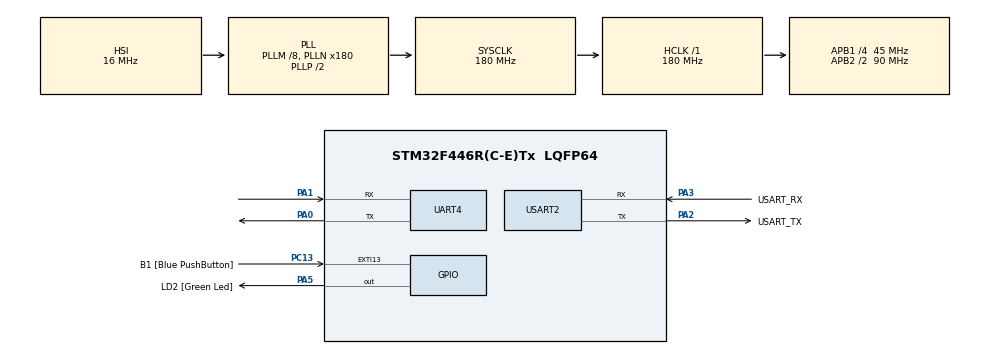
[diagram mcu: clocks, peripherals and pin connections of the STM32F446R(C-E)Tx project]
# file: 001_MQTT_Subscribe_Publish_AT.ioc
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Dma.Request0=UART4_RX
Dma.UART4_RX.0.Direction=DMA_PERIPH_TO_MEMORY
Dma.UART4_RX.0.FIFOMode=DMA_FIFOMODE_DISABLE
Dma.UART4_RX.0.Instance=DMA1_Stream2
Dma.UART4_RX.0.MemDataAlignment=DMA_MDATAALIGN_BYTE
Dma.UART4_RX.0.MemInc=DMA_MINC_ENABLE
Dma.UART4_RX.0.Mode=DMA_CIRCULAR
Dma.UART4_RX.0.PeriphDataAlignment=DMA_PDATAALIGN_BYTE
Dma.UART4_RX.0.PeriphInc=DMA_PINC_DISABLE
Dma.UART4_RX.0.Priority=DMA_PRIORITY_LOW
Mcu.Family=STM32F4
Mcu.Name=STM32F446R(C-E)Tx
Mcu.Package=LQFP64
NVIC.DMA1_Stream2_IRQn=true\:0\:0\:false\:false\:true\:false\:true\:true
NVIC.PriorityGroup=NVIC_PRIORITYGROUP_0
NVIC.UART4_IRQn=true\:0\:0\:false\:false\:true\:true\:true\:true
PA0-WKUP.Mode=Asynchronous
PA0-WKUP.Signal=UART4_TX
PA1.Mode=Asynchronous
PA1.Signal=UART4_RX
PA13.GPIO_Label=TMS
PA13.Mode=Trace_Asynchronous_SW
PA13.Signal=SYS_JTMS-SWDIO
PA14.GPIO_Label=TCK
PA14.Mode=Trace_Asynchronous_SW
PA14.Signal=SYS_JTCK-SWCLK
PA2.GPIO_Label=USART_TX
PA2.Mode=Asynchronous
PA2.Signal=USART2_TX
PA3.GPIO_Label=USART_RX
PA3.Mode=Asynchronous
PA3.Signal=USART2_RX
PA5.GPIO_Label=LD2 [Green Led]
PA5.Signal=GPIO_Output
PB3.GPIO_Label=SWO
PB3.Mode=Trace_Asynchronous_SW
PB3.Signal=SYS_JTDO-SWO
PC13.GPIO_Label=B1 [Blue PushButton]
PC13.GPIO_ModeDefaultEXTI=GPIO_MODE_IT_FALLING
PC13.Signal=GPXTI13
PC14-OSC32_IN.Mode=LSE-External-Oscillator
PC14-OSC32_IN.Signal=RCC_OSC32_IN
PC15-OSC32_OUT.Mode=LSE-External-Oscillator
PC15-OSC32_OUT.Signal=RCC_OSC32_OUT
PH0-OSC_IN.Mode=HSE-External-Oscillator
PH0-OSC_IN.Signal=RCC_OSC_IN
PH1-OSC_OUT.Mode=HSE-External-Oscillator
PH1-OSC_OUT.Signal=RCC_OSC_OUT
ProjectManager.HeapSize=0x400
ProjectManager.StackSize=0x800
ProjectManager.TargetToolchain=STM32CubeIDE
RCC.48MHZClocksFreq_Value=84000000
RCC.AHBFreq_Value=180000000
RCC.APB1CLKDivider=RCC_HCLK_DIV4
RCC.APB1Freq_Value=45000000
RCC.APB1TimFreq_Value=90000000
RCC.APB2CLKDivider=RCC_HCLK_DIV2
RCC.APB2Freq_Value=90000000
RCC.APB2TimFreq_Value=180000000
RCC.CortexFreq_Value=180000000
RCC.FLatency-AdvancedSettings=FLASH_LATENCY_5
RCC.HCLKFreq_Value=180000000
RCC.HSE_VALUE=8000000
RCC.HSI_VALUE=16000000
RCC.PLLM=8
RCC.PLLN=180
RCC.SYSCLKFreq_VALUE=180000000
RCC.SYSCLKSource=RCC_SYSCLKSOURCE_PLLCLK
RCC.USBFreq_Value=180000000
RCC.VCOOutputFreq_Value=360000000
UART4.VirtualMode=Asynchronous
USART2.VirtualMode=VM_ASYNC
board=NUCLEO-F446RE

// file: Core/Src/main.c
 /* USER CODE BEGIN Header */
/**
  ******************************************************************************
  * @file           : main.c
  * @brief          : Main program body
  ******************************************************************************
  * @attention
  *
  * Copyright (c) 2025 STMicroelectronics.
  * All rights reserved.
  *
  * This software is licensed under terms that can be found in the LICENSE file
  * in the root directory of this software component.
  * If no LICENSE file comes with this software, it is provided AS-IS.
  *
  ******************************************************************************
  */
/* USER CODE END Header */
#include "main.h"

/* USER CODE BEGIN Includes */
#include "esp8266.h"
#include "esp8266_io.h"
#include <stdio.h>
#include "app.h"
/* USER CODE END Includes */

UART_HandleTypeDef huart4;
UART_HandleTypeDef huart2;
DMA_HandleTypeDef hdma_uart4_rx;

void SystemClock_Config(void);
static void MX_GPIO_Init(void);
static void MX_DMA_Init(void);
static void MX_USART2_UART_Init(void);
static void MX_UART4_Init(void);

/* USER CODE BEGIN 0 */
/**
 * @brief
 *
 * The project shown below uses MQTT APIs to send and receive MQTT packets
 * over the TLS connection established using mbedTLS.
 *
 * The project is single threaded, uses statically allocated memory, and
 * uses QOS1 for publishing messages to the broker.
 */
/* USER CODE END 0 */

int main(void)
{

  /* USER CODE BEGIN 1 */
  esp8266_status_t status;
  /* USER CODE END 1 */

  /* MCU Configuration--------------------------------------------------------*/

  /* Reset of all peripherals, Initializes the Flash interface and the Systick. */
  HAL_Init();

  /* Configure the system clock */
  SystemClock_Config();

  /* Initialize all configured peripherals */
  MX_GPIO_Init();
  MX_DMA_Init();
  MX_USART2_UART_Init();
  MX_UART4_Init();
  /* USER CODE BEGIN 2 */
  wifi_uart_handle = &huart4;
  status = esp8266_init();

  if (status != ESP8266_OK){
    Error_Handler();
  }

  /* Keep attempting to connect to the specified Wi-Fi access point until successful */
  while(esp8266_joint_ap((uint8_t *)WIFI_SSID, (uint8_t *)WIFI_PASSWORD) != ESP8266_OK);

  /* Configure SNTP with "pool.ntp.org" */
  if(esp8266_config_sntp("pool.ntp.org") != ESP8266_OK)
  {
      Error_Handler();
  }

  /* Query SNTP time */
  if(esp8266_get_sntp_time() != ESP8266_OK)
  {
      Error_Handler();
  }

  /* Configure MQTT client parameters */
  if(esp8266_mqtt_usercfg("esp32", "espressif", "1234567890") != ESP8266_OK)
  {
      Error_Handler();
  }

  /* Connect to the MQTT broker (replace <endpoint> with your AWS IoT endpoint) */
  if(esp8266_mqtt_connect(MQTT_BROKER, MQTT_PORT, 1) != ESP8266_OK)
  {
      Error_Handler();
  }

  /* Subscribe to a topic */
  if(esp8266_mqtt_subscribe("led/cmd", 1) != ESP8266_OK)
  {
      Error_Handler();
  }

  /* USER CODE END 2 */

  /* Infinite loop */
  while (1)
  {

    /* USER CODE BEGIN 3 */
    if (publish_and_process_incoming_message() != 0)
    {
    }
  }
  /* USER CODE END 3 */
}

void SystemClock_Config(void)
{
  RCC_OscInitTypeDef RCC_OscInitStruct = {0};
  RCC_ClkInitTypeDef RCC_ClkInitStruct = {0};

  /** Configure the main internal regulator output voltage
  */
  __HAL_RCC_PWR_CLK_ENABLE();
  __HAL_PWR_VOLTAGESCALING_CONFIG(PWR_REGULATOR_VOLTAGE_SCALE1);

  /** Initializes the RCC Oscillators according to the specified parameters
  * in the RCC_OscInitTypeDef structure.
  */
  RCC_OscInitStruct.OscillatorType = RCC_OSCILLATORTYPE_HSI;
  RCC_OscInitStruct.HSIState = RCC_HSI_ON;
  RCC_OscInitStruct.HSICalibrationValue = RCC_HSICALIBRATION_DEFAULT;
  RCC_OscInitStruct.PLL.PLLState = RCC_PLL_ON;
  RCC_OscInitStruct.PLL.PLLSource = RCC_PLLSOURCE_HSI;
  RCC_OscInitStruct.PLL.PLLM = 8;
  RCC_OscInitStruct.PLL.PLLN = 180;
  RCC_OscInitStruct.PLL.PLLP = RCC_PLLP_DIV2;
  RCC_OscInitStruct.PLL.PLLQ = 2;
  RCC_OscInitStruct.PLL.PLLR = 2;
  if (HAL_RCC_OscConfig(&RCC_OscInitStruct) != HAL_OK)
  {
    Error_Handler();
  }

  /** Activate the Over-Drive mode
  */
  if (HAL_PWREx_EnableOverDrive() != HAL_OK)
  {
    Error_Handler();
  }

  /** Initializes the CPU, AHB and APB buses clocks
  */
  RCC_ClkInitStruct.ClockType = RCC_CLOCKTYPE_HCLK|RCC_CLOCKTYPE_SYSCLK
                              |RCC_CLOCKTYPE_PCLK1|RCC_CLOCKTYPE_PCLK2;
  RCC_ClkInitStruct.SYSCLKSource = RCC_SYSCLKSOURCE_PLLCLK;
  RCC_ClkInitStruct.AHBCLKDivider = RCC_SYSCLK_DIV1;
  RCC_ClkInitStruct.APB1CLKDivider = RCC_HCLK_DIV4;
  RCC_ClkInitStruct.APB2CLKDivider = RCC_HCLK_DIV2;

  if (HAL_RCC_ClockConfig(&RCC_ClkInitStruct, FLASH_LATENCY_5) != HAL_OK)
  {
    Error_Handler();
  }
}

static void MX_UART4_Init(void)
{

  huart4.Instance = UART4;
  huart4.Init.BaudRate = 115200;
  huart4.Init.WordLength = UART_WORDLENGTH_8B;
  huart4.Init.StopBits = UART_STOPBITS_1;
  huart4.Init.Parity = UART_PARITY_NONE;
  huart4.Init.Mode = UART_MODE_TX_RX;
  huart4.Init.HwFlowCtl = UART_HWCONTROL_NONE;
  huart4.Init.OverSampling = UART_OVERSAMPLING_16;
  if (HAL_UART_Init(&huart4) != HAL_OK)
  {
    Error_Handler();
  }

}

static void MX_USART2_UART_Init(void)
{

  huart2.Instance = USART2;
  huart2.Init.BaudRate = 115200;
  huart2.Init.WordLength = UART_WORDLENGTH_8B;
  huart2.Init.StopBits = UART_STOPBITS_1;
  huart2.Init.Parity = UART_PARITY_NONE;
  huart2.Init.Mode = UART_MODE_TX_RX;
  huart2.Init.HwFlowCtl = UART_HWCONTROL_NONE;
  huart2.Init.OverSampling = UART_OVERSAMPLING_16;
  if (HAL_UART_Init(&huart2) != HAL_OK)
  {
    Error_Handler();
  }

}

static void MX_DMA_Init(void)
{

  /* DMA controller clock enable */
  __HAL_RCC_DMA1_CLK_ENABLE();

  /* DMA interrupt init */
  /* DMA1_Stream2_IRQn interrupt configuration */
  HAL_NVIC_SetPriority(DMA1_Stream2_IRQn, 0, 0);
  HAL_NVIC_EnableIRQ(DMA1_Stream2_IRQn);

}

static void MX_GPIO_Init(void)
{
  GPIO_InitTypeDef GPIO_InitStruct = {0};

  /* GPIO Ports Clock Enable */
  __HAL_RCC_GPIOC_CLK_ENABLE();
  __HAL_RCC_GPIOH_CLK_ENABLE();
  __HAL_RCC_GPIOA_CLK_ENABLE();
  __HAL_RCC_GPIOB_CLK_ENABLE();

  /*Configure GPIO pin Output Level */
  HAL_GPIO_WritePin(LD2_GPIO_Port, LD2_Pin, GPIO_PIN_RESET);

  /*Configure GPIO pin : B1_Pin */
  GPIO_InitStruct.Pin = B1_Pin;
  GPIO_InitStruct.Mode = GPIO_MODE_IT_FALLING;
  GPIO_InitStruct.Pull = GPIO_NOPULL;
  HAL_GPIO_Init(B1_GPIO_Port, &GPIO_InitStruct);

  /*Configure GPIO pin : LD2_Pin */
  GPIO_InitStruct.Pin = LD2_Pin;
  GPIO_InitStruct.Mode = GPIO_MODE_OUTPUT_PP;
  GPIO_InitStruct.Pull = GPIO_NOPULL;
  GPIO_InitStruct.Speed = GPIO_SPEED_FREQ_LOW;
  HAL_GPIO_Init(LD2_GPIO_Port, &GPIO_InitStruct);

}

void Error_Handler(void)
{
  __disable_irq();
  while (1)
  {
  }
}
